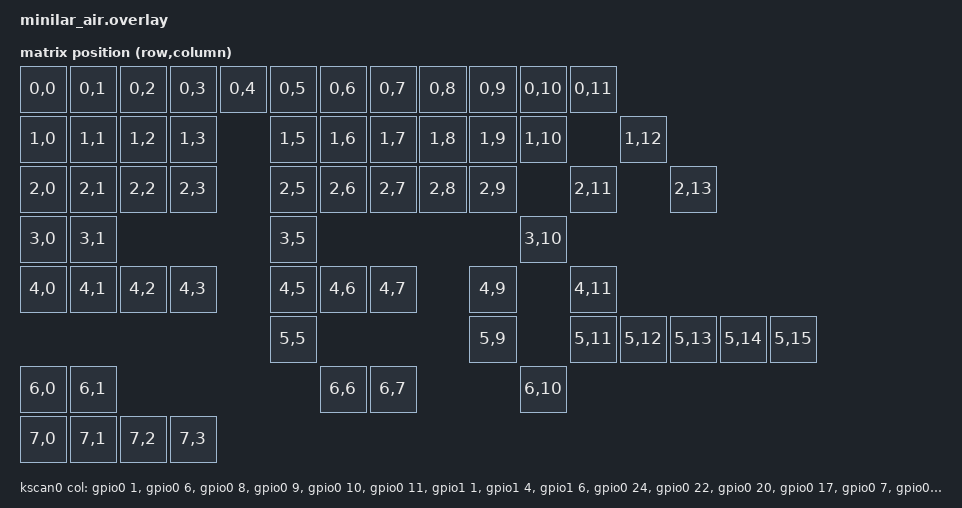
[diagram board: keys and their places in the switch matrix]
/* boards/shields/minila_air/minila_air.overlay */
#include <dt-bindings/zmk/matrix_transform.h>

/ {
    chosen {
        zmk,keyboard         = &kb;
        zmk,matrix_transform = &transform;
    };
};

/* ─────────── 74HC595 行驱动信号 ─────────── */
&sr595 {
    ser-gpios   = <&gpio0 13 GPIO_ACTIVE_HIGH>;
    srclk-gpios = <&gpio0  2 GPIO_ACTIVE_HIGH>;
    rclk-gpios  = <&gpio0 29 GPIO_ACTIVE_HIGH>;
};

/* ─────────── KSCAN：8 × 16 矩阵 ─────────── */
&kb {
    debounce-period-ms = <5>;

    kscan0: kscan {
        compatible      = "zmk,kscan-gpio-matrix";
        label           = "KSCAN_595_GPIO";
        diode-direction = "col2row";
        row-drivers     = <&sr595>;

        col-gpios = <
            &gpio0  1 GPIO_ACTIVE_LOW   /* C0  */
            &gpio0  6 GPIO_ACTIVE_LOW   /* C1  */
            &gpio0  8 GPIO_ACTIVE_LOW   /* C2  */
            &gpio0  9 GPIO_ACTIVE_LOW   /* C3  */
            &gpio0 10 GPIO_ACTIVE_LOW   /* C4  */
            &gpio0 11 GPIO_ACTIVE_LOW   /* C5  */
            &gpio1  1 GPIO_ACTIVE_LOW   /* C6  */
            &gpio1  4 GPIO_ACTIVE_LOW   /* C7  */
            &gpio1  6 GPIO_ACTIVE_LOW   /* C8  */
            &gpio0 24 GPIO_ACTIVE_LOW   /* C9  */
            &gpio0 22 GPIO_ACTIVE_LOW   /* C10 */
            &gpio0 20 GPIO_ACTIVE_LOW   /* C11 */
            &gpio0 17 GPIO_ACTIVE_LOW   /* C12 */
            &gpio0  7 GPIO_ACTIVE_LOW   /* C13 */
            &gpio0 19 GPIO_ACTIVE_LOW   /* C14 */
            &gpio0  3 GPIO_ACTIVE_LOW   /* C15 */
        >;
    };
};

/* ─────────── MATRIX-TRANSFORM：逻辑顺序 → 行列 ─────────── */
transform: matrix_transform {
    compatible = "zmk,matrix-transform";
    rows       = <8>;
    columns    = <16>;

    map = <
        /* r0 */  RC(0,0)  RC(0,1)  RC(0,2)  RC(0,3)  RC(0,4)  RC(0,5)  RC(0,6)  RC(0,7)  RC(0,8)  RC(0,9)  RC(0,10) RC(0,11) -1       -1       -1       -1
        /* r1 */  RC(1,0)  RC(1,1)  RC(1,2)  RC(1,3)  -1       RC(1,5)  RC(1,6)  RC(1,7)  RC(1,8)  RC(1,9)  RC(1,10) -1       RC(1,12) -1       -1       -1
        /* r2 */  RC(2,0)  RC(2,1)  RC(2,2)  RC(2,3)  -1       RC(2,5)  RC(2,6)  RC(2,7)  RC(2,8)  RC(2,9)  -1       RC(2,11) -1       RC(2,13) -1       -1
        /* r3 */  RC(3,0)  RC(3,1)  -1       -1       -1       RC(3,5)  -1       -1       -1       -1       RC(3,10) -1       -1       -1       -1       -1
        /* r4 */  RC(4,0)  RC(4,1)  RC(4,2)  RC(4,3)  -1       RC(4,5)  RC(4,6)  RC(4,7)  -1       RC(4,9)  -1       RC(4,11) -1       -1       -1       -1
        /* r5 */  -1       -1       -1       -1       -1       RC(5,5)  -1       -1       -1       RC(5,9)  -1       RC(5,11) RC(5,12) RC(5,13) RC(5,14) RC(5,15)
        /* r6 */  RC(6,0)  RC(6,1)  -1       -1       -1       -1       RC(6,6)  RC(6,7)  -1       -1       RC(6,10) -1       -1       -1       -1       -1
        /* r7 */  RC(7,0)  RC(7,1)  RC(7,2)  RC(7,3)  -1       -1       -1       -1       -1       -1       -1       -1       -1       -1       -1       -1
    >;
};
